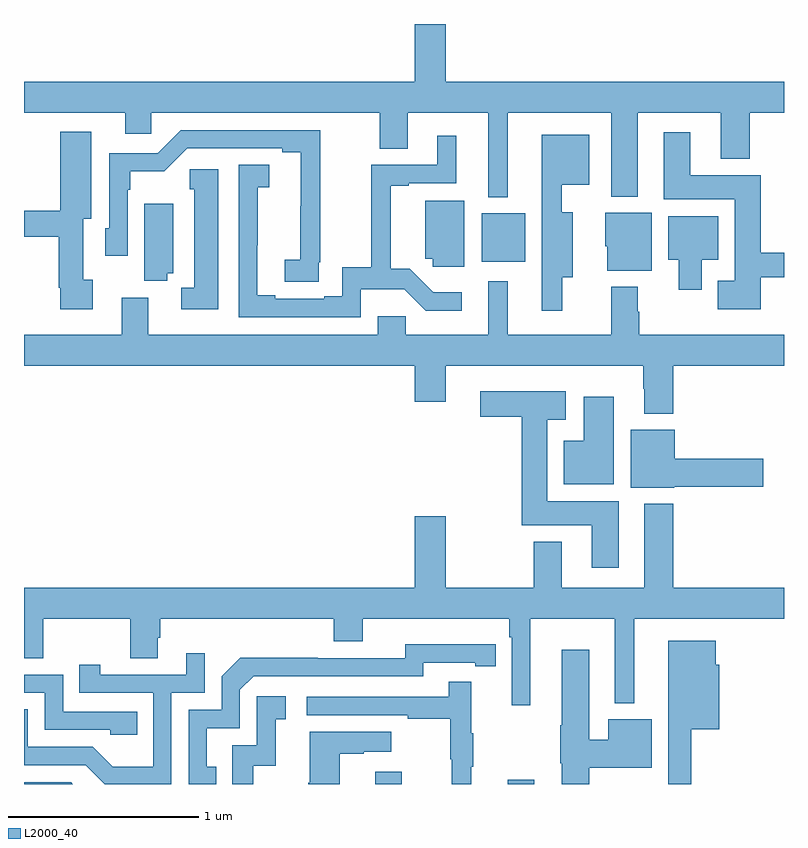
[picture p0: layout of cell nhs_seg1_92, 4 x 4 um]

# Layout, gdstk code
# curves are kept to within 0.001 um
import gdstk
lib = gdstk.Library(unit=1e-6, precision=1e-09)
def R(c, l, rs):  # rectangles x0, y0, x1, y1
    for r in rs: c.add(gdstk.rectangle(r[:2], r[2:], *l))
def P(c, l, *ps):  # polygons
    for p in ps: c.add(gdstk.Polygon(p, *l))
L2000_40 = (2000, 40)

nhs_seg1_92 = lib.new_cell('nhs_seg1_92')
R(nhs_seg1_92, L2000_40, [(116.849,548.199,116.989,548.263), (117.545,548.199,117.685,548.221), (117.41,550.949,117.637,551.203)])
P(nhs_seg1_92, L2000_40, [(117.547,551.732),(118.091,551.732),(118.091,551.291),(118.231,551.291),(118.231,551.732),(118.667,551.732),(118.667,551.489),(118.82,551.489),(118.82,551.732),(119,551.732),(119,551.896),(117.22,551.896),(117.22,552.199),(117.056,552.199),(117.056,551.896),(115,551.896),(115,551.732),(115.532,551.732),(115.532,551.622),(115.671,551.622),(115.671,551.732),(116.872,551.732),(116.872,551.542),(117.019,551.542),(117.019,551.732),(117.443,551.732),(117.443,551.288),(117.547,551.288)],
  [(116.552,550.945),(116.558,550.945),(116.558,551.64),(115.824,551.64),(115.704,551.52),(115.449,551.52),(115.449,551.124),(115.428,551.124),(115.428,550.98),(115.545,550.98),(115.545,551.327),(115.558,551.327),(115.558,551.423),(115.739,551.423),(115.86,551.544),(116.36,551.544),(116.36,551.524),(116.456,551.524),(116.455,550.958),(116.373,550.958),(116.373,550.843),(116.552,550.843)],
  [(115.363,550.854),(115.312,550.854),(115.312,551.174),(115.354,551.174),(115.354,551.632),(115.19,551.632),(115.19,551.216),(115,551.216),(115,551.08),(115.183,551.08),(115.183,550.81),(115.19,550.81),(115.19,550.698),(115.363,550.698)],
  [(118.877,550.866),(119,550.866),(119,550.994),(118.877,550.994),(118.877,551.404),(118.507,551.404),(118.507,551.629),(118.367,551.629),(118.367,551.276),(118.742,551.276),(118.742,550.849),(118.652,550.849),(118.652,550.697),(118.877,550.697)],
  [(117.832,550.865),(117.889,550.865),(117.889,551.209),(117.829,551.209),(117.829,551.354),(117.976,551.354),(117.976,551.617),(117.725,551.617),(117.725,550.689),(117.832,550.689)],
  [(116.772,550.802),(117.001,550.802),(117.114,550.689),(117.304,550.689),(117.304,550.786),(117.155,550.786),(117.029,550.912),(116.93,550.912),(116.93,551.349),(117.025,551.349),(117.025,551.361),(117.274,551.361),(117.274,551.611),(117.176,551.611),(117.176,551.457),(116.827,551.457),(116.827,550.919),(116.676,550.919),(116.676,550.766),(116.579,550.766),(116.579,550.752),(116.323,550.752),(116.323,550.772),(116.227,550.772),(116.227,551.035),(116.229,551.035),(116.229,551.339),(116.29,551.339),(116.29,551.459),(116.13,551.459),(116.13,550.656),(116.772,550.656)],
  [(116.023,551.434),(115.873,551.434),(115.873,551.328),(115.895,551.328),(115.895,550.812),(115.827,550.812),(115.827,550.697),(116.023,550.697)],
  [(117.316,551.269),(117.113,551.269),(117.113,550.964),(117.15,550.964),(117.15,550.922),(117.316,550.922)],
  [(115.754,550.886),(115.786,550.886),(115.786,551.254),(115.634,551.254),(115.634,550.849),(115.754,550.849)],
  [(118.303,551.206),(118.058,551.206),(118.058,551.028),(118.07,551.028),(118.07,550.901),(118.303,550.901)],
  [(118.567,550.958),(118.654,550.958),(118.654,551.188),(118.391,551.188),(118.391,550.958),(118.445,550.958),(118.445,550.8),(118.567,550.8)],
  [(118.418,550.4),(119,550.4),(119,550.564),(118.239,550.564),(118.239,550.685),(118.231,550.685),(118.231,550.816),(118.091,550.816),(118.091,550.564),(117.547,550.564),(117.547,550.846),(117.443,550.846),(117.443,550.564),(117.008,550.564),(117.008,550.662),(116.861,550.662),(116.861,550.564),(115.654,550.564),(115.654,550.759),(115.514,550.759),(115.514,550.564),(115,550.564),(115,550.4),(117.056,550.4),(117.056,550.212),(117.22,550.212),(117.22,550.4),(118.258,550.4),(118.258,550.28),(118.265,550.28),(118.265,550.148),(118.418,550.148)],
  [(118.129,549.688),(117.754,549.688),(117.754,550.115),(117.85,550.115),(117.85,550.267),(117.402,550.267),(117.402,550.133),(117.62,550.133),(117.62,549.56),(117.989,549.56),(117.989,549.336),(118.129,549.336)],
  [(118.105,550.237),(117.947,550.237),(117.947,550.006),(117.842,550.006),(117.842,549.776),(118.105,549.776)],
  [(118.422,549.764),(118.891,549.764),(118.891,549.911),(118.426,549.911),(118.426,550.063),(118.193,550.063),(118.193,549.758),(118.422,549.758)],
  [(117.664,549.068),(118.109,549.068),(118.109,548.624),(118.213,548.624),(118.213,549.068),(119,549.068),(119,549.232),(118.418,549.232),(118.418,549.673),(118.265,549.673),(118.265,549.232),(117.829,549.232),(117.829,549.475),(117.682,549.475),(117.682,549.232),(117.22,549.232),(117.22,549.607),(117.056,549.607),(117.056,549.232),(115,549.232),(115,548.86),(115.101,548.86),(115.101,549.068),(115.558,549.068),(115.558,548.86),(115.705,548.86),(115.705,548.97),(115.718,548.97),(115.718,549.068),(116.63,549.068),(116.63,548.951),(116.782,548.951),(116.782,549.068),(117.554,549.068),(117.554,548.972),(117.567,548.972),(117.567,548.613),(117.664,548.613)],
  [(118.513,548.486),(118.66,548.486),(118.66,548.826),(118.642,548.826),(118.642,548.953),(118.391,548.953),(118.391,548.199),(118.513,548.199)],
  [(116.012,548.289),(115.963,548.289),(115.963,548.493),(116.136,548.493),(116.136,548.694),(116.208,548.766),(117.102,548.766),(117.102,548.838),(117.374,548.838),(117.374,548.818),(117.482,548.818),(117.482,548.934),(117.006,548.935),(117.006,548.862),(116.546,548.862),(116.546,548.864),(116.138,548.864),(116.04,548.766),(116.04,548.589),(115.866,548.589),(115.866,548.199),(116.012,548.199)],
  [(117.976,548.285),(118.303,548.285),(118.303,548.539),(118.076,548.539),(118.076,548.432),(117.976,548.432),(117.976,548.905),(117.83,548.905),(117.83,548.509),(117.823,548.509),(117.823,548.309),(117.83,548.309),(117.83,548.199),(117.976,548.199)],
  [(115.776,548.679),(115.95,548.679),(115.95,548.887),(115.853,548.887),(115.853,548.775),(115.402,548.775),(115.402,548.827),(115.291,548.827),(115.291,548.679),(115.68,548.679),(115.68,548.29),(115.466,548.29),(115.362,548.394),(115.02,548.394),(115.02,548.593),(115,548.593),(115,548.298),(115.325,548.298),(115.424,548.199),(115.776,548.199)],
  [(115.595,548.58),(115.206,548.58),(115.206,548.775),(115,548.775),(115,548.679),(115.11,548.679),(115.11,548.484),(115.455,548.484),(115.455,548.457),(115.595,548.457)],
  [(117.353,548.291),(117.364,548.291),(117.364,548.465),(117.353,548.465),(117.353,548.737),(117.235,548.737),(117.235,548.658),(116.487,548.658),(116.487,548.562),(117.019,548.562),(117.019,548.542),(117.243,548.542),(117.243,548.328),(117.25,548.328),(117.25,548.199),(117.353,548.199)],
  [(116.206,548.295),(116.324,548.295),(116.324,548.541),(116.377,548.541),(116.377,548.662),(116.226,548.662),(116.226,548.403),(116.097,548.403),(116.097,548.199),(116.206,548.199)],
  [(116.662,548.359),(116.789,548.359),(116.789,548.369),(116.932,548.369),(116.932,548.473),(116.504,548.473),(116.504,548.206),(116.497,548.206),(116.497,548.199),(116.662,548.199)],
  [(115.248,548.208),(115,548.208),(115,548.199),(115.257,548.199)])

lib.write_gds('nhs_seg1_92.gds')
